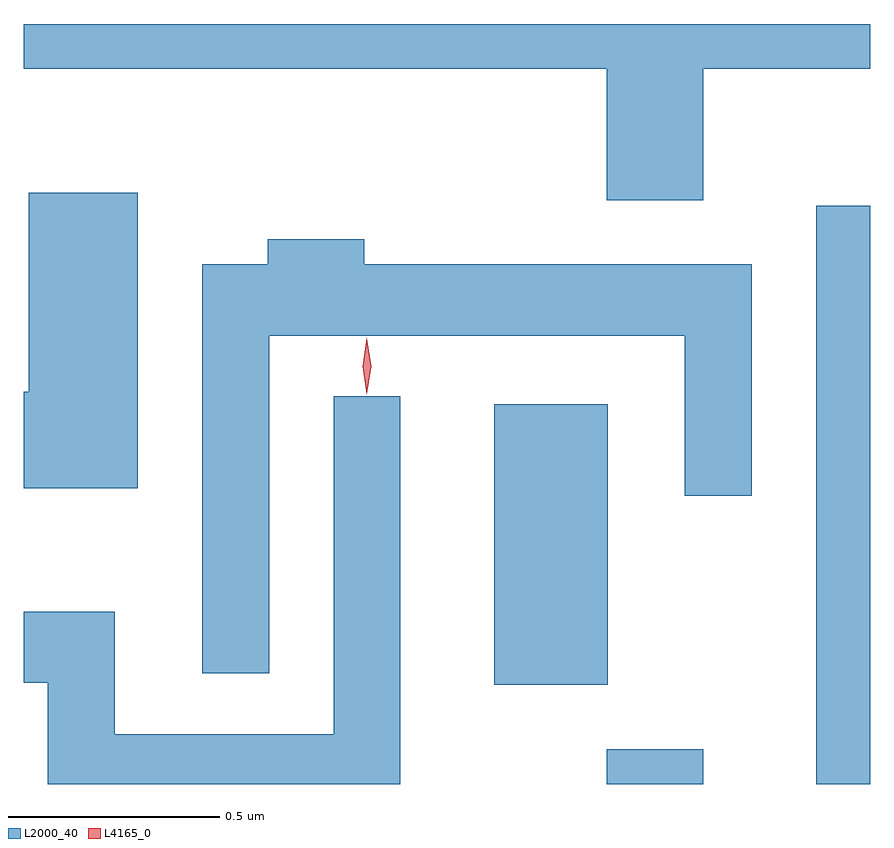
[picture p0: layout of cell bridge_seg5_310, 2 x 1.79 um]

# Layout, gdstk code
import gdstk
lib = gdstk.Library(unit=1e-6, precision=1e-09)
def R(c, l, rs):  # rectangles x0, y0, x1, y1
    for r in rs: c.add(gdstk.rectangle(r[:2], r[2:], *l))
def P(c, l, *ps):  # polygons
    for p in ps: c.add(gdstk.Polygon(p, *l))
L2000_40 = (2000, 40)
L4165_0 = (4165, 0)

bridge_seg5_310 = lib.new_cell('bridge_seg5_310')
R(bridge_seg5_310, L2000_40, [(711.321,1528.367,711.549,1528.449), (711.816,1528.367,711.944,1529.733), (711.056,1528.601,711.324,1529.264)])
P(bridge_seg5_310, L2000_40, [(711.549,1530.056),(711.944,1530.056),(711.944,1530.162),(709.944,1530.162),(709.944,1530.056),(711.321,1530.056),(711.321,1529.746),(711.549,1529.746)],
  [(710.214,1529.764),(709.956,1529.764),(709.956,1529.294),(709.944,1529.294),(709.944,1529.066),(710.214,1529.066)],
  [(710.524,1529.426),(711.506,1529.426),(711.506,1529.048),(711.664,1529.048),(711.664,1529.594),(710.749,1529.594),(710.749,1529.654),(710.521,1529.654),(710.521,1529.594),(710.366,1529.594),(710.366,1528.628),(710.524,1528.628)],
  [(710.834,1529.283),(710.676,1529.283),(710.676,1528.484),(710.159,1528.484),(710.159,1528.774),(709.944,1528.774),(709.944,1528.606),(710.001,1528.606),(710.001,1528.367),(710.834,1528.367)])
P(bridge_seg5_310, L4165_0, [(710.755,1529.287),(710.754,1529.288),(710.745,1529.354),(710.754,1529.42),(710.755,1529.421),(710.755,1529.42),(710.765,1529.354),(710.755,1529.288)])

lib.write_gds('bridge_seg5_310.gds')
